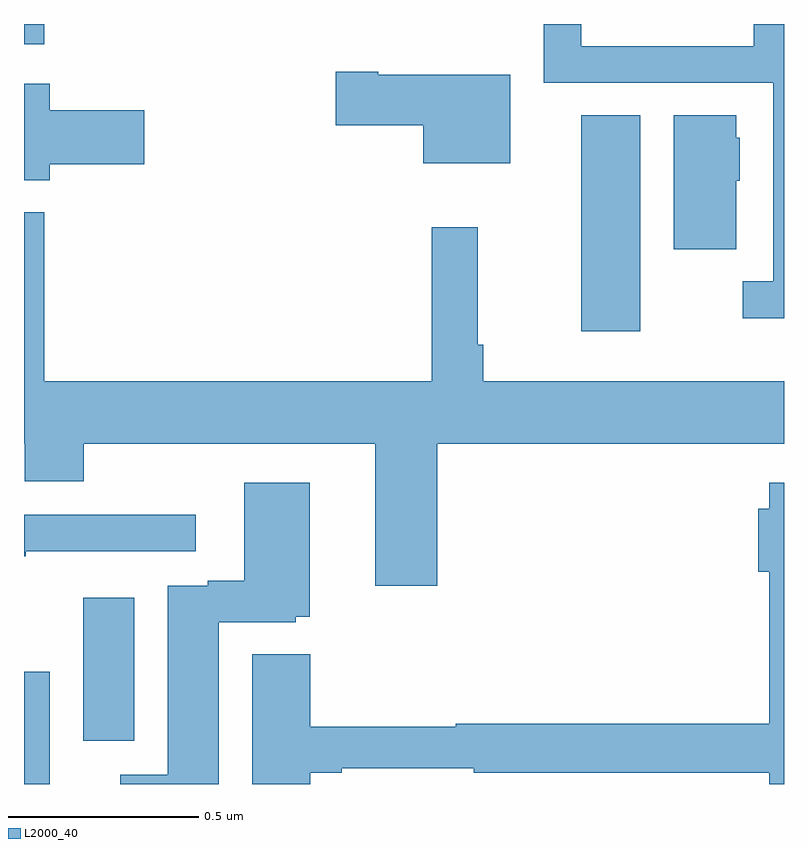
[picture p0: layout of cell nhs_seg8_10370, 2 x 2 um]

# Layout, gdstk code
import gdstk
lib = gdstk.Library(unit=1e-6, precision=1e-09)
def R(c, l, rs):  # rectangles x0, y0, x1, y1
    for r in rs: c.add(gdstk.rectangle(r[:2], r[2:], *l))
def P(c, l, *ps):  # polygons
    for p in ps: c.add(gdstk.Polygon(p, *l))
L2000_40 = (2000, 40)

nhs_seg8_10370 = lib.new_cell('nhs_seg8_10370')
R(nhs_seg8_10370, L2000_40, [(248,1152.9,248.068,1153.195), (248.156,1153.014,248.29,1153.39), (249.467,1154.091,249.622,1154.66), (248,1154.847,248.053,1154.9)])
P(nhs_seg8_10370, L2000_40, [(250,1154.9),(249.92,1154.9),(249.92,1154.841),(249.466,1154.841),(249.466,1154.9),(249.368,1154.9),(249.368,1154.745),(249.972,1154.745),(249.972,1154.223),(249.891,1154.223),(249.891,1154.126),(250,1154.126)],
  [(249.28,1154.767),(248.932,1154.767),(248.932,1154.775),(248.82,1154.775),(248.82,1154.633),(249.05,1154.633),(249.05,1154.534),(249.28,1154.534)],
  [(248.068,1154.531),(248.317,1154.531),(248.317,1154.673),(248.068,1154.673),(248.068,1154.743),(248,1154.743),(248,1154.489),(248.068,1154.489)],
  [(249.874,1154.487),(249.883,1154.487),(249.883,1154.601),(249.874,1154.601),(249.874,1154.66),(249.71,1154.66),(249.71,1154.307),(249.874,1154.307)],
  [(249.088,1153.796),(250,1153.796),(250,1153.96),(249.209,1153.96),(249.209,1154.056),(249.194,1154.056),(249.194,1154.365),(249.073,1154.365),(249.073,1153.96),(248.053,1153.96),(248.053,1154.404),(248,1154.404),(248,1153.796),(248.002,1153.796),(248.002,1153.697),(248.157,1153.697),(248.157,1153.796),(248.924,1153.796),(248.924,1153.422),(249.088,1153.422)],
  [(248.512,1153.326),(248.715,1153.326),(248.715,1153.34),(248.752,1153.34),(248.752,1153.693),(248.579,1153.693),(248.579,1153.435),(248.483,1153.435),(248.483,1153.422),(248.378,1153.422),(248.378,1152.924),(248.253,1152.924),(248.253,1152.9),(248.512,1152.9)],
  [(248.753,1152.93),(248.836,1152.93),(248.836,1152.942),(249.184,1152.942),(249.184,1152.93),(249.961,1152.93),(249.961,1152.9),(250,1152.9),(250,1153.693),(249.961,1153.693),(249.961,1153.624),(249.932,1153.624),(249.932,1153.459),(249.961,1153.459),(249.961,1153.058),(249.136,1153.058),(249.136,1153.051),(248.753,1153.051),(248.753,1153.241),(248.6,1153.241),(248.6,1152.9),(248.753,1152.9)],
  [(248.005,1153.512),(248.452,1153.512),(248.452,1153.608),(248,1153.608),(248,1153.5),(248.005,1153.5)])

lib.write_gds('nhs_seg8_10370.gds')
